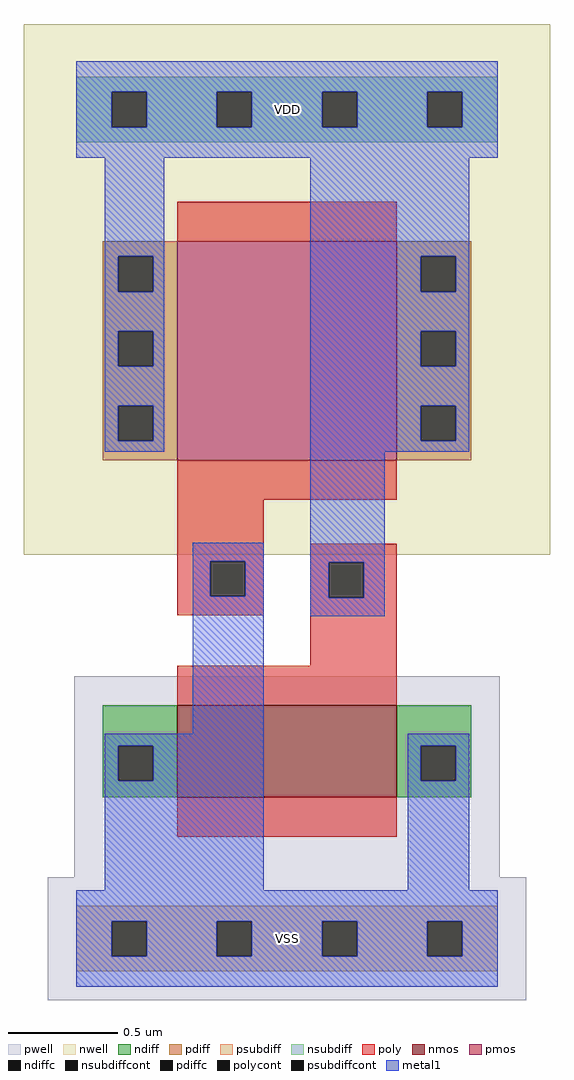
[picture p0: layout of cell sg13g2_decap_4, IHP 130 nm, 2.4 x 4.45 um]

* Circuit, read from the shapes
.subckt sg13g2_decap_4 VDD VSS
XM1 VSS VDD VSS VSS sg13_lv_nmos w=0.42u l=1u
XM2 VDD VSS VDD VDD sg13_lv_pmos w=1u l=1u
.ends

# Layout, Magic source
magic
tech ihp-sg13g2
magscale 1 2
<< nwell >>
rect -48 350 432 834
<< pwell >>
rect -2 56 386 239
rect -26 -56 410 56
<< nmos >>
rect 92 129 292 213
<< pmos >>
rect 92 436 292 636
<< ndiff >>
rect 24 176 92 213
rect 24 144 38 176
rect 70 144 92 176
rect 24 129 92 144
rect 292 176 360 213
rect 292 144 314 176
rect 346 144 360 176
rect 292 129 360 144
<< pdiff >>
rect 24 622 92 636
rect 24 590 38 622
rect 70 590 92 622
rect 24 554 92 590
rect 24 522 38 554
rect 70 522 92 554
rect 24 486 92 522
rect 24 454 38 486
rect 70 454 92 486
rect 24 436 92 454
rect 292 622 360 636
rect 292 590 314 622
rect 346 590 360 622
rect 292 554 360 590
rect 292 522 314 554
rect 346 522 360 554
rect 292 486 360 522
rect 292 454 314 486
rect 346 454 360 486
rect 292 436 360 454
<< ndiffc >>
rect 38 144 70 176
rect 314 144 346 176
<< pdiffc >>
rect 38 590 70 622
rect 38 522 70 554
rect 38 454 70 486
rect 314 590 346 622
rect 314 522 346 554
rect 314 454 346 486
<< psubdiff >>
rect 0 16 384 30
rect 0 -16 32 16
rect 64 -16 128 16
rect 160 -16 224 16
rect 256 -16 320 16
rect 352 -16 384 16
rect 0 -30 384 -16
<< nsubdiff >>
rect 0 772 384 786
rect 0 740 32 772
rect 64 740 128 772
rect 160 740 224 772
rect 256 740 320 772
rect 352 740 384 772
rect 0 726 384 740
<< psubdiffcont >>
rect 32 -16 64 16
rect 128 -16 160 16
rect 224 -16 256 16
rect 320 -16 352 16
<< nsubdiffcont >>
rect 32 740 64 772
rect 128 740 160 772
rect 224 740 256 772
rect 320 740 352 772
<< poly >>
rect 92 636 292 672
rect 92 400 292 436
rect 92 344 171 400
rect 92 312 122 344
rect 154 312 171 344
rect 92 295 171 312
rect 213 343 292 360
rect 213 311 230 343
rect 262 311 292 343
rect 213 249 292 311
rect 92 213 292 249
rect 92 93 292 129
<< polycont >>
rect 122 312 154 344
rect 230 311 262 343
<< metal1 >>
rect 0 772 384 800
rect 0 740 32 772
rect 64 740 128 772
rect 160 740 224 772
rect 256 740 320 772
rect 352 740 384 772
rect 0 712 384 740
rect 26 622 80 712
rect 26 590 38 622
rect 70 590 80 622
rect 26 554 80 590
rect 26 522 38 554
rect 70 522 80 554
rect 26 486 80 522
rect 26 454 38 486
rect 70 454 80 486
rect 26 444 80 454
rect 213 622 358 712
rect 213 590 314 622
rect 346 590 358 622
rect 213 554 358 590
rect 213 522 314 554
rect 346 522 358 554
rect 213 486 358 522
rect 213 454 314 486
rect 346 454 358 486
rect 213 444 358 454
rect 106 344 171 361
rect 106 312 122 344
rect 154 312 171 344
rect 106 187 171 312
rect 213 343 281 444
rect 213 311 230 343
rect 262 311 281 343
rect 213 294 281 311
rect 26 176 171 187
rect 26 144 38 176
rect 70 144 171 176
rect 26 44 171 144
rect 302 176 358 187
rect 302 144 314 176
rect 346 144 358 176
rect 302 44 358 144
rect 0 16 384 44
rect 0 -16 32 16
rect 64 -16 128 16
rect 160 -16 224 16
rect 256 -16 320 16
rect 352 -16 384 16
rect 0 -44 384 -16
<< labels >>
flabel metal1 s 0 712 384 800 0 FreeSans 400 0 0 0 VDD
port 2 nsew
flabel metal1 s 0 -44 384 44 0 FreeSans 400 0 0 0 VSS
port 3 nsew
<< properties >>
string FIXED_BBOX 0 0 384 756
string GDS_END 233612
string GDS_FILE 6_final.gds
string GDS_START 231216
<< end >>
